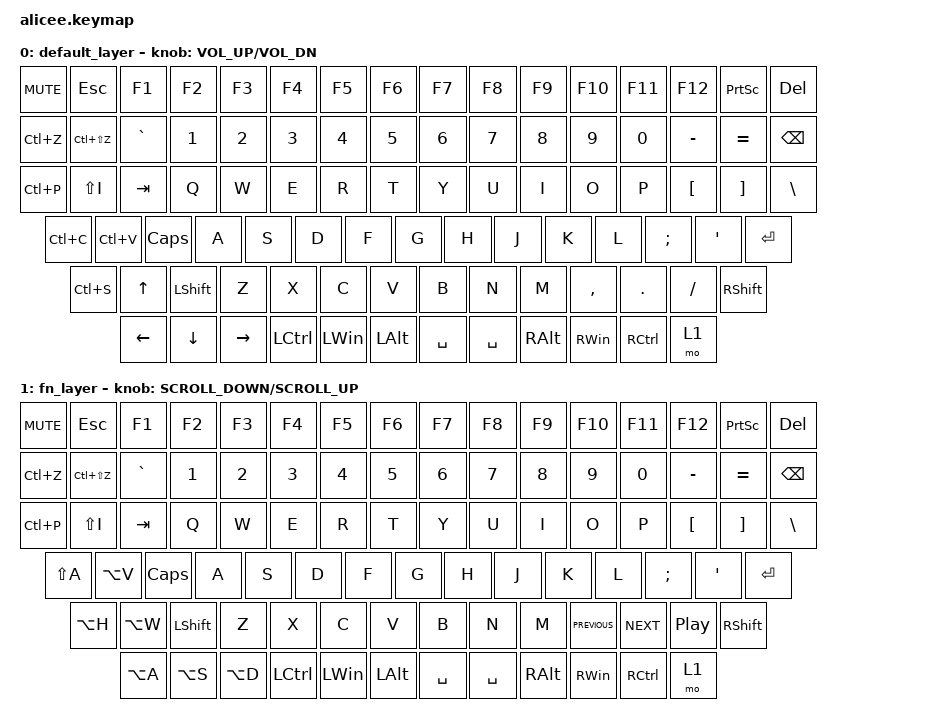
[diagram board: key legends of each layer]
#include <behaviors.dtsi>
#include <dt-bindings/zmk/keys.h>

/ {
    keymap {
        compatible = "zmk,keymap";
        

        default_layer {
            bindings = <
          &kp C_MUTE &kp ESC &kp F1 &kp F2 &kp F3 &kp F4 &kp F5 &kp F6    &kp F7 &kp F8 &kp F9 &kp F10 &kp F11 &kp F12 &kp PSCRN &kp DEL
        &kp LC(Z) &kp LC(LS(Z))  &kp GRAVE &kp N1 &kp N2 &kp N3 &kp N4 &kp N5 &kp N6    &kp N7 &kp N8 &kp N9 &kp N0 &kp MINUS &kp EQUAL &kp BSPC
        &kp LC(P) &kp LS(I)    &kp TAB &kp Q &kp W &kp E &kp R &kp T        &kp Y &kp U &kp I &kp O &kp P &kp LBKT &kp RBKT &kp BSLH
        &kp LC(C) &kp LC(V)     &kp CAPS &kp A &kp S &kp D &kp F &kp G        &kp H &kp J &kp K &kp L &kp SEMI &kp SQT &kp RET
        &kp LC(S)   &kp UP &kp LSHFT          &kp Z &kp X &kp C &kp V &kp B     &kp N &kp M &kp COMMA &kp DOT &kp SLASH &kp RSHFT
        &kp LEFT &kp DOWN &kp RIGHT &kp LCTRL   &kp LWIN  &kp LALT  &kp SPACE          &kp SPACE                 &kp RALT &kp RWIN &kp RCTRL &mo 1
            >;

            sensor-bindings = <&inc_dec_kp C_VOL_UP C_VOL_DN>;
        };

        fn_layer {
            bindings = <
          &kp C_MUTE &kp ESC &kp F1 &kp F2 &kp F3 &kp F4 &kp F5 &kp F6    &kp F7 &kp F8 &kp F9 &kp F10 &kp F11 &kp F12 &kp PSCRN &kp DEL
        &kp LC(Z) &kp LC(LS(Z))  &kp GRAVE &kp N1 &kp N2 &kp N3 &kp N4 &kp N5 &kp N6    &kp N7 &kp N8 &kp N9 &kp N0 &kp MINUS &kp EQUAL &kp BSPC
        &kp LC(P) &kp LS(I)    &kp TAB &kp Q &kp W &kp E &kp R &kp T        &kp Y &kp U &kp I &kp O &kp P &kp LBKT &kp RBKT &kp BSLH
        &kp LS(A) &kp LA(V)     &kp CAPS &kp A &kp S &kp D &kp F &kp G        &kp H &kp J &kp K &kp L &kp SEMI &kp SQT &kp RET
        &kp LA(H)  &kp LA(W) &kp LSHFT          &kp Z &kp X &kp C &kp V &kp B     &kp N &kp M &kp C_PREVIOUS &kp C_NEXT &kp C_PP &kp RSHFT
         &kp LA(A) &kp LA(S) &kp LA(D) &kp LCTRL   &kp LWIN  &kp LALT  &kp SPACE          &kp SPACE                 &kp RALT &kp RWIN &kp RCTRL &mo 1
            >;

            sensor-bindings = <&inc_dec_kp K_SCROLL_DOWN K_SCROLL_UP>;
        };
    };
};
